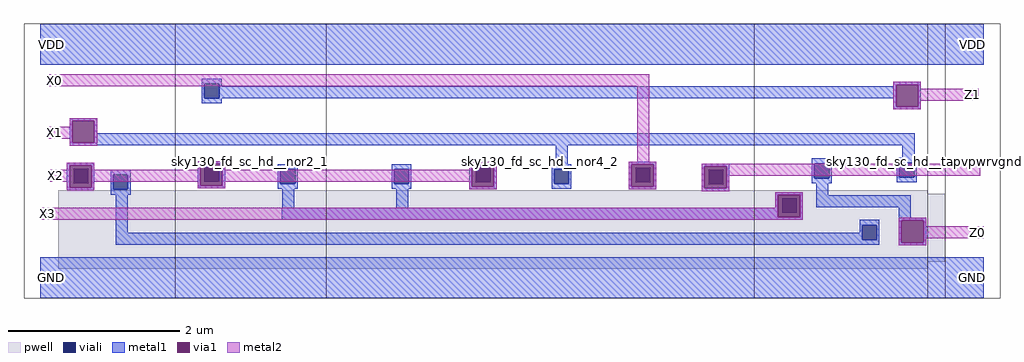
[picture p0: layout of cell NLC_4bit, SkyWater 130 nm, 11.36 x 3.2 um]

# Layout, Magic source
magic
tech sky130B
magscale 1 2
<< pwell >>
rect 80 244 2104 252
rect 80 86 2144 244
rect 80 69 2104 86
<< viali >>
rect 420 466 454 500
rect 116 268 150 302
rect 208 254 242 288
rect 420 272 454 306
rect 597 267 631 301
rect 862 267 896 301
rect 1052 270 1086 304
rect 1234 267 1268 301
rect 1424 270 1458 304
rect 1594 266 1628 300
rect 1840 280 1874 314
rect 2038 282 2072 316
rect 1765 199 1799 233
rect 1951 137 1985 171
<< metal1 >>
rect 38 544 2234 640
rect 414 500 460 512
rect 414 466 420 500
rect 454 494 460 500
rect 2024 498 2088 504
rect 2024 494 2030 498
rect 454 466 2030 494
rect 414 454 460 466
rect 2024 446 2030 466
rect 2082 446 2088 498
rect 2024 440 2088 446
rect 106 414 170 420
rect 106 362 112 414
rect 164 385 170 414
rect 164 362 2073 385
rect 106 357 2073 362
rect 106 356 170 357
rect 100 310 164 316
rect 100 258 106 310
rect 158 258 164 310
rect 404 314 468 320
rect 100 252 164 258
rect 202 288 248 300
rect 202 254 208 288
rect 242 254 248 288
rect 404 262 410 314
rect 462 262 468 314
rect 404 256 468 262
rect 591 301 637 313
rect 591 267 597 301
rect 631 267 637 301
rect 591 255 637 267
rect 856 301 902 313
rect 856 267 862 301
rect 896 267 902 301
rect 856 255 902 267
rect 1036 312 1100 318
rect 1238 313 1266 357
rect 2045 328 2073 357
rect 1036 260 1042 312
rect 1094 260 1100 312
rect 202 242 248 254
rect 213 153 241 242
rect 601 211 629 255
rect 866 211 894 255
rect 1036 254 1100 260
rect 1228 301 1274 313
rect 1228 267 1234 301
rect 1268 267 1274 301
rect 1228 255 1274 267
rect 1408 312 1472 318
rect 1834 314 1880 326
rect 1408 260 1414 312
rect 1466 260 1472 312
rect 1408 254 1472 260
rect 1578 308 1642 314
rect 1578 256 1584 308
rect 1636 256 1642 308
rect 1834 280 1840 314
rect 1874 280 1880 314
rect 1834 268 1880 280
rect 2032 316 2078 328
rect 2032 282 2038 316
rect 2072 282 2078 316
rect 2032 270 2078 282
rect 1578 250 1642 256
rect 1749 241 1813 247
rect 1749 211 1755 241
rect 600 189 1755 211
rect 1807 189 1813 241
rect 1844 240 1872 268
rect 1844 212 2064 240
rect 600 183 1813 189
rect 2036 188 2064 212
rect 1945 171 1991 183
rect 1945 153 1951 171
rect 213 137 1951 153
rect 1985 137 1991 171
rect 213 125 1991 137
rect 2036 182 2100 188
rect 2036 130 2042 182
rect 2094 130 2100 182
rect 2036 124 2100 130
rect 38 0 2234 96
<< via1 >>
rect 2030 446 2082 498
rect 112 362 164 414
rect 106 302 158 310
rect 106 268 116 302
rect 116 268 150 302
rect 150 268 158 302
rect 106 258 158 268
rect 410 306 462 314
rect 410 272 420 306
rect 420 272 454 306
rect 454 272 462 306
rect 410 262 462 272
rect 1042 304 1094 312
rect 1042 270 1052 304
rect 1052 270 1086 304
rect 1086 270 1094 304
rect 1042 260 1094 270
rect 1414 304 1466 312
rect 1414 270 1424 304
rect 1424 270 1458 304
rect 1458 270 1466 304
rect 1414 260 1466 270
rect 1584 300 1636 308
rect 1584 266 1594 300
rect 1594 266 1628 300
rect 1628 266 1636 300
rect 1584 256 1636 266
rect 1755 233 1807 241
rect 1755 199 1765 233
rect 1765 199 1799 233
rect 1799 199 1807 233
rect 1755 189 1807 199
rect 2042 130 2094 182
<< metal2 >>
rect 58 494 1456 522
rect 106 414 170 420
rect 106 400 112 414
rect 56 372 112 400
rect 106 362 112 372
rect 164 362 170 414
rect 106 356 170 362
rect 100 310 164 316
rect 100 300 106 310
rect 60 272 106 300
rect 100 258 106 272
rect 158 300 164 310
rect 404 314 468 320
rect 1428 318 1456 494
rect 2024 498 2088 504
rect 2024 446 2030 498
rect 2082 488 2088 498
rect 2082 460 2222 488
rect 2082 446 2088 460
rect 2024 440 2088 446
rect 404 300 410 314
rect 158 272 410 300
rect 158 258 164 272
rect 100 252 164 258
rect 404 262 410 272
rect 462 300 468 314
rect 1036 312 1100 318
rect 1036 300 1042 312
rect 462 272 1042 300
rect 462 262 468 272
rect 404 256 468 262
rect 1036 260 1042 272
rect 1094 260 1100 312
rect 1036 254 1100 260
rect 1408 312 1472 318
rect 1408 260 1414 312
rect 1466 260 1472 312
rect 1408 254 1472 260
rect 1578 308 2226 314
rect 1578 256 1584 308
rect 1636 286 2226 308
rect 1636 256 1642 286
rect 1578 250 1642 256
rect 1749 241 1813 247
rect 1749 211 1755 241
rect 40 189 1755 211
rect 1807 189 1813 241
rect 40 183 1813 189
rect 2036 182 2100 188
rect 2036 130 2042 182
rect 2094 168 2100 182
rect 2094 140 2234 168
rect 2094 130 2100 140
rect 2036 124 2100 130
use sky130_fd_sc_hd__tapvpwrvgnd_1  sky130_fd_sc_hd__tapvpwrvgnd_1_0 $PDKPATH/libs.ref/sky130_fd_sc_hd/mag
transform 1 0 2142 0 1 48
box -38 -48 130 592
use sky130_fd_sc_hd__nor4_2  x1 $PDKPATH/libs.ref/sky130_fd_sc_hd/mag
transform 1 0 742 0 1 48
box -38 -48 958 592
use sky130_fd_sc_hd__nor2_1  x2 $PDKPATH/libs.ref/sky130_fd_sc_hd/mag
transform 1 0 390 0 1 48
box -38 -48 314 592
use sky130_fd_sc_hd__a21oi_1  x3 $PDKPATH/libs.ref/sky130_fd_sc_hd/mag
transform 1 0 1738 0 1 48
box -38 -48 406 592
use sky130_fd_sc_hd__inv_1  x4 $PDKPATH/libs.ref/sky130_fd_sc_hd/mag
transform 1 0 38 0 1 48
box -38 -48 314 592
<< labels >>
rlabel metal1 38 0 90 96 1 GND
port 1 n ground input
rlabel metal1 2182 0 2234 96 1 GND
port 1 n ground input
rlabel metal1 2182 544 2234 640 1 VDD
port 2 n power input
rlabel metal1 38 544 90 640 1 VDD
port 2 n power input
rlabel metal2 58 494 86 522 1 X0
port 3 n signal input
rlabel metal2 56 372 84 400 1 X1
port 4 n signal input
rlabel metal2 60 272 88 300 1 X2
port 5 n signal input
rlabel metal2 40 183 68 211 1 X3
port 6 n signal input
rlabel metal2 2194 460 2222 488 1 Z1
port 7 n signal output
rlabel metal2 2198 286 2226 314 1 a
port 8 n signal output
rlabel metal2 2206 140 2234 168 1 Z0
port 9 n signal output
<< end >>
